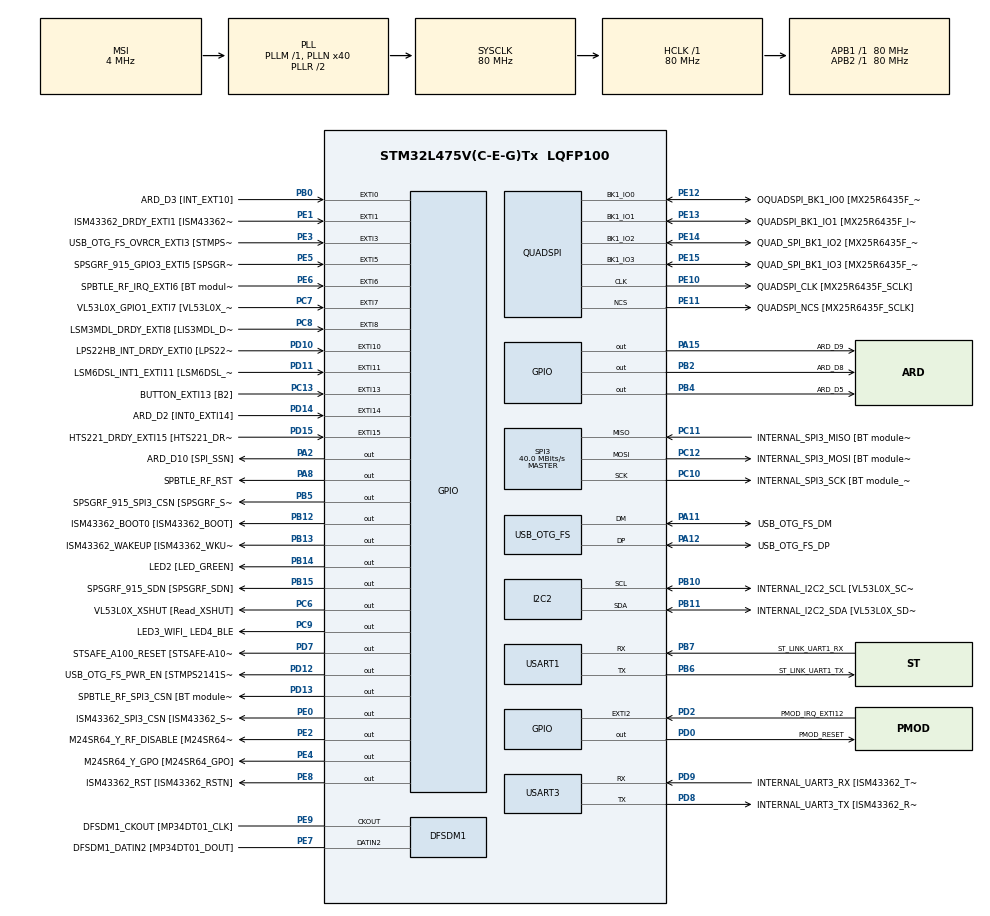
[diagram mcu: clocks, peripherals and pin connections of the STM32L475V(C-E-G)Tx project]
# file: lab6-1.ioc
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ADC1.Channel-0\#ChannelRegularConversion=ADC_CHANNEL_TEMPSENSOR
ADC1.ClockPrescaler=ADC_CLOCK_SYNC_PCLK_DIV4
ADC1.ExternalTrigConv=ADC_EXTERNALTRIG_T1_TRGO
ADC1.NbrOfConversionFlag=1
ADC1.OffsetNumber-0\#ChannelRegularConversion=ADC_OFFSET_NONE
ADC1.Rank-0\#ChannelRegularConversion=1
ADC1.SamplingTime-0\#ChannelRegularConversion=ADC_SAMPLETIME_2CYCLES_5
ADC1.master=1
FREERTOS.BinarySemaphores01=Sem,Dynamic,NULL,Depleted
FREERTOS.Tasks01=task1,24,128,Task1,Default,NULL,Dynamic,NULL,NULL
Mcu.Family=STM32L4
Mcu.Name=STM32L475V(C-E-G)Tx
Mcu.Package=LQFP100
NVIC.ADC1_2_IRQn=true\:5\:0\:false\:false\:true\:true\:true\:true\:true
NVIC.EXTI15_10_IRQn=true\:5\:0\:false\:false\:true\:true\:true\:true\:true
NVIC.EXTI9_5_IRQn=true\:5\:0\:false\:false\:true\:true\:true\:true\:true
NVIC.PriorityGroup=NVIC_PRIORITYGROUP_4
PA0.GPIO_Label=ARD_D1 [UART4_TX]
PA0.Signal=UART4_TX
PA1.GPIO_Label=ARD_D0 [UART4_RX]
PA1.Signal=UART4_RX
PA10.GPIO_Label=USB_OTG_FS_ID
PA10.Signal=USB_OTG_FS_ID
PA11.GPIO_Label=USB_OTG_FS_DM
PA11.Mode=Device_Only
PA11.Signal=USB_OTG_FS_DM
PA12.GPIO_Label=USB_OTG_FS_DP
PA12.Mode=Device_Only
PA12.Signal=USB_OTG_FS_DP
PA13\ (JTMS-SWDIO).GPIO_Label=SYS_JTMS_SWDIO
PA13\ (JTMS-SWDIO).Mode=Serial_Wire
PA13\ (JTMS-SWDIO).Signal=SYS_JTMS-SWDIO
PA14\ (JTCK-SWCLK).GPIO_Label=SYS_JTCK_SWCLK
PA14\ (JTCK-SWCLK).Mode=Serial_Wire
PA14\ (JTCK-SWCLK).Signal=SYS_JTCK-SWCLK
PA15\ (JTDI).GPIO_Label=ARD_D9
PA15\ (JTDI).Signal=GPIO_Output
PA2.GPIO_Label=ARD_D10 [SPI_SSN]
PA2.Signal=GPIO_Output
PA3.GPIO_Label=ARD_D4
PA3.Signal=S_TIM2_CH4
PA4.GPIO_Label=ARD_D7
PA4.Signal=ADCx_IN9
PA5.GPIO_Label=ARD_D13 [SPI1_SCK]
PA5.Signal=SPI1_SCK
PA6.GPIO_Label=ARD_D12 [SPI1_MISO]
PA6.Signal=SPI1_MISO
PA7.GPIO_Label=ARD_D11 [SPI1_MOSI]
PA7.Signal=SPI1_MOSI
PA8.GPIO_Label=SPBTLE_RF_RST
PA8.Signal=GPIO_Output
PA9.GPIO_Label=USB_OTG_FS_VBUS [STMPS2141STR_OUT]
PA9.Signal=USB_OTG_FS_VBUS
PB0.GPIO_Label=ARD_D3 [INT_EXT10]
PB0.Signal=GPXTI0
PB1.GPIO_Label=ARD_D6 [ADC1_IN6]
PB1.Signal=ADCx_IN16
PB10.GPIO_Label=INTERNAL_I2C2_SCL [VL53L0X_SCL]
PB10.GPIO_Pu=GPIO_PULLUP
PB10.Mode=I2C
PB10.Signal=I2C2_SCL
PB11.GPIO_Label=INTERNAL_I2C2_SDA [VL53L0X_SDA]
PB11.GPIO_Pu=GPIO_PULLUP
PB11.Mode=I2C
PB11.Signal=I2C2_SDA
PB12.GPIO_Label=ISM43362_BOOT0 [ISM43362_BOOT]
PB12.Signal=GPIO_Output
PB13.GPIO_Label=ISM43362_WAKEUP [ISM43362_WKUP]
PB13.Signal=GPIO_Output
PB14.GPIO_Label=LED2 [LED_GREEN]
PB14.Signal=GPIO_Output
PB15.GPIO_Label=SPSGRF_915_SDN [SPSGRF_SDN]
PB15.Signal=GPIO_Output
PB2.GPIO_Label=ARD_D8
PB2.Signal=GPIO_Output
PB3\ (JTDO-TRACESWO).GPIO_Label=SYS_JTD0_SWO
PB3\ (JTDO-TRACESWO).Signal=SYS_JTDO-SWO
PB4\ (NJTRST).GPIO_Label=ARD_D5
PB4\ (NJTRST).Signal=GPIO_Output
PB5.GPIO_Label=SPSGRF_915_SPI3_CSN [SPSGRF_SPI_CS]
PB5.PinState=GPIO_PIN_SET
PB5.Signal=GPIO_Output
PB6.GPIO_Label=ST_LINK_UART1_TX
PB6.Mode=Asynchronous
PB6.Signal=USART1_TX
PB7.GPIO_Label=ST_LINK_UART1_RX
PB7.Mode=Asynchronous
PB7.Signal=USART1_RX
PB8.GPIO_Label=ARD_D15 [I2C1_SCL]
PB8.Signal=I2C1_SCL
PB9.GPIO_Label=ARD_D14 [I2C1_SDA]
PB9.Signal=I2C1_SDA
PC0.GPIO_Label=ARD_A5 [ADC]
PC0.Signal=ADCx_IN1
PC1.GPIO_Label=ARD_A4 [ADC]
PC1.Signal=ADCx_IN2
PC10.GPIO_Label=INTERNAL_SPI3_SCK [BT module_SPI_SCLK] [ISM43362_SCK]
PC10.Mode=Full_Duplex_Master
PC10.Signal=SPI3_SCK
PC11.GPIO_Label=INTERNAL_SPI3_MISO [BT module_SPI_MISO] [ISM43362_MISO]
PC11.Mode=Full_Duplex_Master
PC11.Signal=SPI3_MISO
PC12.GPIO_Label=INTERNAL_SPI3_MOSI [BT module_SPI_MOSI] [ISM43362_MOSI]
PC12.Mode=Full_Duplex_Master
PC12.Signal=SPI3_MOSI
PC13.GPIO_Label=BUTTON_EXTI13 [B2]
PC13.GPIO_ModeDefaultEXTI=GPIO_MODE_IT_FALLING
PC13.Signal=GPXTI13
PC14-OSC32_IN\ (PC14).Mode=LSE-External-Oscillator
PC14-OSC32_IN\ (PC14).Signal=RCC_OSC32_IN
PC15-OSC32_OUT\ (PC15).Mode=LSE-External-Oscillator
PC15-OSC32_OUT\ (PC15).Signal=RCC_OSC32_OUT
PC2.GPIO_Label=ARD_A3 [ADC]
PC2.Signal=ADCx_IN3
PC3.GPIO_Label=ARD_A2 [ADC]
PC3.Signal=ADCx_IN4
PC4.GPIO_Label=ARD_A1 [ADC]
PC4.Signal=ADCx_IN13
PC5.GPIO_Label=ARD_A0 [ADC]
PC5.Signal=ADCx_IN14
PC6.GPIO_Label=VL53L0X_XSHUT [Read_XSHUT]
PC6.Signal=GPIO_Output
PC7.GPIO_Label=VL53L0X_GPIO1_EXTI7 [VL53L0X_GPIO1]
PC7.Signal=GPXTI7
PC8.GPIO_Label=LSM3MDL_DRDY_EXTI8 [LIS3MDL_DRDY]
PC8.Signal=GPXTI8
PC9.GPIO_Label=LED3_WIFI_ LED4_BLE
PC9.Signal=GPIO_Output
PD0.GPIO_Label=PMOD_RESET
PD0.Signal=GPIO_Output
PD1.GPIO_Label=PMOD_SPI2_SCK
PD1.Signal=SPI2_SCK
PD10.GPIO_Label=LPS22HB_INT_DRDY_EXTI0 [LPS22HB_INT_DRDY] 
PD10.Signal=GPXTI10
PD11.GPIO_Label=LSM6DSL_INT1_EXTI11 [LSM6DSL_INT1]
PD11.Signal=GPXTI11
PD12.GPIO_Label=USB_OTG_FS_PWR_EN [STMPS2141STR_EN]
PD12.Signal=GPIO_Output
PD13.GPIO_Label=SPBTLE_RF_SPI3_CSN [BT module_SPI_CS]
PD13.PinState=GPIO_PIN_SET
PD13.Signal=GPIO_Output
PD14.GPIO_Label=ARD_D2 [INT0_EXTI14]
PD14.Signal=GPXTI14
PD15.GPIO_Label=HTS221_DRDY_EXTI15 [HTS221_DRDY]
PD15.Signal=GPXTI15
PD2.GPIO_Label=PMOD_IRQ_EXTI12
PD2.Signal=GPXTI2
PD3.GPIO_Label=PMOD_UART2_CTS
PD3.Signal=USART2_CTS
PD4.GPIO_Label=PMOD_UART2_RTS
PD4.Signal=USART2_RTS
PD5.GPIO_Label=PMOD_UART2_TX
PD5.Signal=USART2_TX
PD6.GPIO_Label=PMOD_UART2_RX
PD6.Signal=USART2_RX
PD7.GPIO_Label=STSAFE_A100_RESET [STSAFE-A100_RESET]
PD7.Signal=GPIO_Output
PD8.GPIO_Label=INTERNAL_UART3_TX [ISM43362_RX]
PD8.Mode=Asynchronous
PD8.Signal=USART3_TX
PD9.GPIO_Label=INTERNAL_UART3_RX [ISM43362_TX]
PD9.Mode=Asynchronous
PD9.Signal=USART3_RX
PE0.GPIO_Label=ISM43362_SPI3_CSN [ISM43362_SSN]
PE0.PinState=GPIO_PIN_SET
PE0.Signal=GPIO_Output
PE1.GPIO_Label=ISM43362_DRDY_EXTI1 [ISM43362_DATARDY]
PE1.Signal=GPXTI1
PE10.GPIO_Label=QUADSPI_CLK [MX25R6435F_SCLK]
PE10.Mode=Single Bank
PE10.Signal=QUADSPI_CLK
PE11.GPIO_Label=QUADSPI_NCS [MX25R6435F_SCLK]
PE11.Mode=Single Bank
PE11.Signal=QUADSPI_NCS
PE12.GPIO_Label=OQUADSPI_BK1_IO0 [MX25R6435F_IO0]
PE12.Mode=Single Bank
PE12.Signal=QUADSPI_BK1_IO0
PE13.GPIO_Label=QUADSPI_BK1_IO1 [MX25R6435F_IO1]
PE13.Mode=Single Bank
PE13.Signal=QUADSPI_BK1_IO1
PE14.GPIO_Label=QUAD_SPI_BK1_IO2 [MX25R6435F_IO2]
PE14.Mode=Single Bank
PE14.Signal=QUADSPI_BK1_IO2
PE15.GPIO_Label=QUAD_SPI_BK1_IO3 [MX25R6435F_IO3]
PE15.Mode=Single Bank
PE15.Signal=QUADSPI_BK1_IO3
PE2.GPIO_Label=M24SR64_Y_RF_DISABLE [M24SR64_RFDIS]
PE2.Signal=GPIO_Output
PE3.GPIO_Label=USB_OTG_FS_OVRCR_EXTI3 [STMPS2141STR_FAULT]
PE3.Signal=GPXTI3
PE4.GPIO_Label=M24SR64_Y_GPO [M24SR64_GPO]
PE4.Signal=GPIO_Output
PE5.GPIO_Label=SPSGRF_915_GPIO3_EXTI5 [SPSGRF_GPIO_3]
PE5.Signal=GPXTI5
PE6.GPIO_Label=SPBTLE_RF_IRQ_EXTI6 [BT module_SPI_IRQ]
PE6.Signal=GPXTI6
PE7.GPIO_Label=DFSDM1_DATIN2 [MP34DT01_DOUT]
PE7.Signal=S_DATAIN2DFSDM1
PE8.GPIO_Label=ISM43362_RST [ISM43362_RSTN]
PE8.Signal=GPIO_Output
PE9.GPIO_Label=DFSDM1_CKOUT [MP34DT01_CLK]
PE9.Signal=S_CKOUTDFSDM1
ProjectManager.HeapSize=0x200
ProjectManager.StackSize=0x400
ProjectManager.TargetToolchain=STM32CubeIDE
QUADSPI.ClockPrescaler=2
QUADSPI.FifoThreshold=4
QUADSPI.FlashSize=23
QUADSPI.SampleShifting=QSPI_SAMPLE_SHIFTING_HALFCYCLE
RCC.ADCFreq_Value=48000000
RCC.AHBFreq_Value=80000000
RCC.APB1Freq_Value=80000000
RCC.APB1TimFreq_Value=80000000
RCC.APB2Freq_Value=80000000
RCC.APB2TimFreq_Value=80000000
RCC.CortexFreq_Value=80000000
RCC.HCLKFreq_Value=80000000
RCC.HSE_VALUE=8000000
RCC.HSI_VALUE=16000000
RCC.MSI_VALUE=4000000
RCC.PLLN=40
RCC.PLLSAI1N=24
RCC.SYSCLKFreq_VALUE=80000000
RCC.SYSCLKSource=RCC_SYSCLKSOURCE_PLLCLK
RCC.USBFreq_Value=48000000
RCC.VCOOutputFreq_Value=160000000
SH.ADCx_IN1.0=ADC1_IN1
SH.ADCx_IN13.0=ADC1_IN13
SH.ADCx_IN14.0=ADC1_IN14
SH.ADCx_IN16.0=ADC1_IN16
SH.ADCx_IN2.0=ADC1_IN2
SH.ADCx_IN3.0=ADC1_IN3
SH.ADCx_IN4.0=ADC1_IN4
SH.ADCx_IN9.0=ADC1_IN9
SH.S_CKOUTDFSDM1.0=DFSDM1_CKOUT,CKOUT
SH.S_CKOUTDFSDM1.1=DFSDM1_CKOUT,PDM_SPI_Input_from_ch12_and_Internal_Clock
SH.S_DATAIN2DFSDM1.0=DFSDM1_DATIN2,PDM_SPI_Input_from_ch12_and_Internal_Clock
SH.S_TIM2_CH4.0=TIM2_CH4
SPI3.CalculateBaudRate=40.0 MBits/s
SPI3.Direction=SPI_DIRECTION_2LINES
SPI3.Mode=SPI_MODE_MASTER
SPI3.VirtualType=VM_MASTER
TIM1.Period=1999
TIM1.Prescaler=39999
TIM1.TIM_MasterOutputTrigger=TIM_TRGO_UPDATE
USART1.VirtualMode-Asynchronous=VM_ASYNC
USART3.VirtualMode-Asynchronous=VM_ASYNC
USB_OTG_FS.VirtualMode=Device_Only
VP_ADC1_TempSens_Input.Mode=IN-TempSens
VP_FREERTOS_VS_CMSIS_V2.Mode=CMSIS_V2
VP_TIM1_VS_ClockSourceINT.Mode=Internal
board=B-L475E-IOT01A1

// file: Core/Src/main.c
/* USER CODE BEGIN Header */
/**
  ******************************************************************************
  * @file           : main.c
  * @brief          : Main program body
  ******************************************************************************
  * @attention
  *
  * Copyright (c) 2025 STMicroelectronics.
  * All rights reserved.
  *
  * This software is licensed under terms that can be found in the LICENSE file
  * in the root directory of this software component.
  * If no LICENSE file comes with this software, it is provided AS-IS.
  *
  ******************************************************************************
  */
/* USER CODE END Header */
#include "main.h"
#include "cmsis_os.h"

/* USER CODE BEGIN Includes */
#include "stdio.h"
/* USER CODE END Includes */

ADC_HandleTypeDef hadc1;

DFSDM_Channel_HandleTypeDef hdfsdm1_channel1;

I2C_HandleTypeDef hi2c2;

QSPI_HandleTypeDef hqspi;

SPI_HandleTypeDef hspi3;

TIM_HandleTypeDef htim1;

UART_HandleTypeDef huart1;
UART_HandleTypeDef huart3;

PCD_HandleTypeDef hpcd_USB_OTG_FS;

/* Definitions for task1 */
osThreadId_t task1Handle;
const osThreadAttr_t task1_attributes = {
  .name = "task1",
  .stack_size = 128 * 4,
  .priority = (osPriority_t) osPriorityNormal,
};
/* Definitions for Sem */
osSemaphoreId_t SemHandle;
const osSemaphoreAttr_t Sem_attributes = {
  .name = "Sem"
};
/* USER CODE BEGIN PV */
int16_t data;
int16_t val;
int16_t ts_cal1_value;
int16_t ts_cal2_value;
/* USER CODE END PV */

void SystemClock_Config(void);
void PeriphCommonClock_Config(void);
static void MX_GPIO_Init(void);
static void MX_DFSDM1_Init(void);
static void MX_I2C2_Init(void);
static void MX_QUADSPI_Init(void);
static void MX_SPI3_Init(void);
static void MX_USART1_UART_Init(void);
static void MX_USART3_UART_Init(void);
static void MX_USB_OTG_FS_PCD_Init(void);
static void MX_ADC1_Init(void);
static void MX_TIM1_Init(void);
void Task1(void *argument);

/* USER CODE BEGIN 0 */
int __io_putchar (int ch)
{
	HAL_UART_Transmit (&huart1, (uint8_t *) &ch, 1, 0xFFFF);
	return ch;
}

void HAL_ADC_ConvCpltCallback (ADC_HandleTypeDef *hadc)
{
	data = HAL_ADC_GetValue(&hadc1);
	osSemaphoreRelease(SemHandle);
}
/* USER CODE END 0 */

int main(void)
{

  /* MCU Configuration--------------------------------------------------------*/

  /* Reset of all peripherals, Initializes the Flash interface and the Systick. */
  HAL_Init();

  /* Configure the system clock */
  SystemClock_Config();

  /* Configure the peripherals common clocks */
  PeriphCommonClock_Config();

  /* Initialize all configured peripherals */
  MX_GPIO_Init();
  MX_DFSDM1_Init();
  MX_I2C2_Init();
  MX_QUADSPI_Init();
  MX_SPI3_Init();
  MX_USART1_UART_Init();
  MX_USART3_UART_Init();
  MX_USB_OTG_FS_PCD_Init();
  MX_ADC1_Init();
  MX_TIM1_Init();
  /* USER CODE BEGIN 2 */
  HAL_ADC_Start_IT(&hadc1);
  HAL_TIM_Base_Start_IT(&htim1);
  ts_cal1_value = *((int16_t*)0x1FFF75A8);
  ts_cal2_value = *((int16_t*)0x1FFF75CA);
  /* USER CODE END 2 */

  /* Init scheduler */
  osKernelInitialize();

  /* Create the semaphores(s) */
  /* creation of Sem */
  SemHandle = osSemaphoreNew(1, 0, &Sem_attributes);

  /* Create the thread(s) */
  /* creation of task1 */
  task1Handle = osThreadNew(Task1, NULL, &task1_attributes);

  /* Start scheduler */
  osKernelStart();

  /* We should never get here as control is now taken by the scheduler */

  /* Infinite loop */
  while (1)
  {

  }
}

void SystemClock_Config(void)
{
  RCC_OscInitTypeDef RCC_OscInitStruct = {0};
  RCC_ClkInitTypeDef RCC_ClkInitStruct = {0};

  /** Configure the main internal regulator output voltage
  */
  if (HAL_PWREx_ControlVoltageScaling(PWR_REGULATOR_VOLTAGE_SCALE1) != HAL_OK)
  {
    Error_Handler();
  }

  /** Configure LSE Drive Capability
  */
  HAL_PWR_EnableBkUpAccess();
  __HAL_RCC_LSEDRIVE_CONFIG(RCC_LSEDRIVE_LOW);

  /** Initializes the RCC Oscillators according to the specified parameters
  * in the RCC_OscInitTypeDef structure.
  */
  RCC_OscInitStruct.OscillatorType = RCC_OSCILLATORTYPE_LSE|RCC_OSCILLATORTYPE_MSI;
  RCC_OscInitStruct.LSEState = RCC_LSE_ON;
  RCC_OscInitStruct.MSIState = RCC_MSI_ON;
  RCC_OscInitStruct.MSICalibrationValue = 0;
  RCC_OscInitStruct.MSIClockRange = RCC_MSIRANGE_6;
  RCC_OscInitStruct.PLL.PLLState = RCC_PLL_ON;
  RCC_OscInitStruct.PLL.PLLSource = RCC_PLLSOURCE_MSI;
  RCC_OscInitStruct.PLL.PLLM = 1;
  RCC_OscInitStruct.PLL.PLLN = 40;
  RCC_OscInitStruct.PLL.PLLP = RCC_PLLP_DIV7;
  RCC_OscInitStruct.PLL.PLLQ = RCC_PLLQ_DIV2;
  RCC_OscInitStruct.PLL.PLLR = RCC_PLLR_DIV2;
  if (HAL_RCC_OscConfig(&RCC_OscInitStruct) != HAL_OK)
  {
    Error_Handler();
  }

  /** Initializes the CPU, AHB and APB buses clocks
  */
  RCC_ClkInitStruct.ClockType = RCC_CLOCKTYPE_HCLK|RCC_CLOCKTYPE_SYSCLK
                              |RCC_CLOCKTYPE_PCLK1|RCC_CLOCKTYPE_PCLK2;
  RCC_ClkInitStruct.SYSCLKSource = RCC_SYSCLKSOURCE_PLLCLK;
  RCC_ClkInitStruct.AHBCLKDivider = RCC_SYSCLK_DIV1;
  RCC_ClkInitStruct.APB1CLKDivider = RCC_HCLK_DIV1;
  RCC_ClkInitStruct.APB2CLKDivider = RCC_HCLK_DIV1;

  if (HAL_RCC_ClockConfig(&RCC_ClkInitStruct, FLASH_LATENCY_4) != HAL_OK)
  {
    Error_Handler();
  }

  /** Enable MSI Auto calibration
  */
  HAL_RCCEx_EnableMSIPLLMode();
}

void PeriphCommonClock_Config(void)
{
  RCC_PeriphCLKInitTypeDef PeriphClkInit = {0};

  /** Initializes the peripherals clock
  */
  PeriphClkInit.PeriphClockSelection = RCC_PERIPHCLK_USB;
  PeriphClkInit.UsbClockSelection = RCC_USBCLKSOURCE_PLLSAI1;
  PeriphClkInit.PLLSAI1.PLLSAI1Source = RCC_PLLSOURCE_MSI;
  PeriphClkInit.PLLSAI1.PLLSAI1M = 1;
  PeriphClkInit.PLLSAI1.PLLSAI1N = 24;
  PeriphClkInit.PLLSAI1.PLLSAI1P = RCC_PLLP_DIV7;
  PeriphClkInit.PLLSAI1.PLLSAI1Q = RCC_PLLQ_DIV2;
  PeriphClkInit.PLLSAI1.PLLSAI1R = RCC_PLLR_DIV2;
  PeriphClkInit.PLLSAI1.PLLSAI1ClockOut = RCC_PLLSAI1_48M2CLK;
  if (HAL_RCCEx_PeriphCLKConfig(&PeriphClkInit) != HAL_OK)
  {
    Error_Handler();
  }
}

static void MX_ADC1_Init(void)
{

  ADC_MultiModeTypeDef multimode = {0};
  ADC_ChannelConfTypeDef sConfig = {0};

  /** Common config
  */
  hadc1.Instance = ADC1;
  hadc1.Init.ClockPrescaler = ADC_CLOCK_SYNC_PCLK_DIV4;
  hadc1.Init.Resolution = ADC_RESOLUTION_12B;
  hadc1.Init.DataAlign = ADC_DATAALIGN_RIGHT;
  hadc1.Init.ScanConvMode = ADC_SCAN_DISABLE;
  hadc1.Init.EOCSelection = ADC_EOC_SINGLE_CONV;
  hadc1.Init.LowPowerAutoWait = DISABLE;
  hadc1.Init.ContinuousConvMode = DISABLE;
  hadc1.Init.NbrOfConversion = 1;
  hadc1.Init.DiscontinuousConvMode = DISABLE;
  hadc1.Init.ExternalTrigConv = ADC_EXTERNALTRIG_T1_TRGO;
  hadc1.Init.ExternalTrigConvEdge = ADC_EXTERNALTRIGCONVEDGE_RISING;
  hadc1.Init.DMAContinuousRequests = DISABLE;
  hadc1.Init.Overrun = ADC_OVR_DATA_PRESERVED;
  hadc1.Init.OversamplingMode = DISABLE;
  if (HAL_ADC_Init(&hadc1) != HAL_OK)
  {
    Error_Handler();
  }
  if (HAL_ADCEx_Calibration_Start(&hadc1, ADC_SINGLE_ENDED) != HAL_OK)
  {
      Error_Handler();
  }

  /** Configure the ADC multi-mode
  */
  multimode.Mode = ADC_MODE_INDEPENDENT;
  if (HAL_ADCEx_MultiModeConfigChannel(&hadc1, &multimode) != HAL_OK)
  {
    Error_Handler();
  }

  /** Configure Regular Channel
  */
  sConfig.Channel = ADC_CHANNEL_TEMPSENSOR;
  sConfig.Rank = ADC_REGULAR_RANK_1;
  sConfig.SamplingTime = ADC_SAMPLETIME_2CYCLES_5;
  sConfig.SingleDiff = ADC_SINGLE_ENDED;
  sConfig.OffsetNumber = ADC_OFFSET_NONE;
  sConfig.Offset = 0;
  if (HAL_ADC_ConfigChannel(&hadc1, &sConfig) != HAL_OK)
  {
    Error_Handler();
  }

}

static void MX_DFSDM1_Init(void)
{

  hdfsdm1_channel1.Instance = DFSDM1_Channel1;
  hdfsdm1_channel1.Init.OutputClock.Activation = ENABLE;
  hdfsdm1_channel1.Init.OutputClock.Selection = DFSDM_CHANNEL_OUTPUT_CLOCK_SYSTEM;
  hdfsdm1_channel1.Init.OutputClock.Divider = 2;
  hdfsdm1_channel1.Init.Input.Multiplexer = DFSDM_CHANNEL_EXTERNAL_INPUTS;
  hdfsdm1_channel1.Init.Input.DataPacking = DFSDM_CHANNEL_STANDARD_MODE;
  hdfsdm1_channel1.Init.Input.Pins = DFSDM_CHANNEL_FOLLOWING_CHANNEL_PINS;
  hdfsdm1_channel1.Init.SerialInterface.Type = DFSDM_CHANNEL_SPI_RISING;
  hdfsdm1_channel1.Init.SerialInterface.SpiClock = DFSDM_CHANNEL_SPI_CLOCK_INTERNAL;
  hdfsdm1_channel1.Init.Awd.FilterOrder = DFSDM_CHANNEL_FASTSINC_ORDER;
  hdfsdm1_channel1.Init.Awd.Oversampling = 1;
  hdfsdm1_channel1.Init.Offset = 0;
  hdfsdm1_channel1.Init.RightBitShift = 0x00;
  if (HAL_DFSDM_ChannelInit(&hdfsdm1_channel1) != HAL_OK)
  {
    Error_Handler();
  }

}

static void MX_I2C2_Init(void)
{

  hi2c2.Instance = I2C2;
  hi2c2.Init.Timing = 0x00000E14;
  hi2c2.Init.OwnAddress1 = 0;
  hi2c2.Init.AddressingMode = I2C_ADDRESSINGMODE_7BIT;
  hi2c2.Init.DualAddressMode = I2C_DUALADDRESS_DISABLE;
  hi2c2.Init.OwnAddress2 = 0;
  hi2c2.Init.OwnAddress2Masks = I2C_OA2_NOMASK;
  hi2c2.Init.GeneralCallMode = I2C_GENERALCALL_DISABLE;
  hi2c2.Init.NoStretchMode = I2C_NOSTRETCH_DISABLE;
  if (HAL_I2C_Init(&hi2c2) != HAL_OK)
  {
    Error_Handler();
  }

  /** Configure Analogue filter
  */
  if (HAL_I2CEx_ConfigAnalogFilter(&hi2c2, I2C_ANALOGFILTER_ENABLE) != HAL_OK)
  {
    Error_Handler();
  }

  /** Configure Digital filter
  */
  if (HAL_I2CEx_ConfigDigitalFilter(&hi2c2, 0) != HAL_OK)
  {
    Error_Handler();
  }

}

static void MX_QUADSPI_Init(void)
{

  /* QUADSPI parameter configuration*/
  hqspi.Instance = QUADSPI;
  hqspi.Init.ClockPrescaler = 2;
  hqspi.Init.FifoThreshold = 4;
  hqspi.Init.SampleShifting = QSPI_SAMPLE_SHIFTING_HALFCYCLE;
  hqspi.Init.FlashSize = 23;
  hqspi.Init.ChipSelectHighTime = QSPI_CS_HIGH_TIME_1_CYCLE;
  hqspi.Init.ClockMode = QSPI_CLOCK_MODE_0;
  if (HAL_QSPI_Init(&hqspi) != HAL_OK)
  {
    Error_Handler();
  }

}

static void MX_SPI3_Init(void)
{

  /* SPI3 parameter configuration*/
  hspi3.Instance = SPI3;
  hspi3.Init.Mode = SPI_MODE_MASTER;
  hspi3.Init.Direction = SPI_DIRECTION_2LINES;
  hspi3.Init.DataSize = SPI_DATASIZE_4BIT;
  hspi3.Init.CLKPolarity = SPI_POLARITY_LOW;
  hspi3.Init.CLKPhase = SPI_PHASE_1EDGE;
  hspi3.Init.NSS = SPI_NSS_SOFT;
  hspi3.Init.BaudRatePrescaler = SPI_BAUDRATEPRESCALER_2;
  hspi3.Init.FirstBit = SPI_FIRSTBIT_MSB;
  hspi3.Init.TIMode = SPI_TIMODE_DISABLE;
  hspi3.Init.CRCCalculation = SPI_CRCCALCULATION_DISABLE;
  hspi3.Init.CRCPolynomial = 7;
  hspi3.Init.CRCLength = SPI_CRC_LENGTH_DATASIZE;
  hspi3.Init.NSSPMode = SPI_NSS_PULSE_ENABLE;
  if (HAL_SPI_Init(&hspi3) != HAL_OK)
  {
    Error_Handler();
  }

}

static void MX_TIM1_Init(void)
{

  TIM_ClockConfigTypeDef sClockSourceConfig = {0};
  TIM_MasterConfigTypeDef sMasterConfig = {0};

  htim1.Instance = TIM1;
  htim1.Init.Prescaler = 39999;
  htim1.Init.CounterMode = TIM_COUNTERMODE_UP;
  htim1.Init.Period = 1999;
  htim1.Init.ClockDivision = TIM_CLOCKDIVISION_DIV1;
  htim1.Init.RepetitionCounter = 0;
  htim1.Init.AutoReloadPreload = TIM_AUTORELOAD_PRELOAD_DISABLE;
  if (HAL_TIM_Base_Init(&htim1) != HAL_OK)
  {
    Error_Handler();
  }
  sClockSourceConfig.ClockSource = TIM_CLOCKSOURCE_INTERNAL;
  if (HAL_TIM_ConfigClockSource(&htim1, &sClockSourceConfig) != HAL_OK)
  {
    Error_Handler();
  }
  sMasterConfig.MasterOutputTrigger = TIM_TRGO_UPDATE;
  sMasterConfig.MasterOutputTrigger2 = TIM_TRGO2_RESET;
  sMasterConfig.MasterSlaveMode = TIM_MASTERSLAVEMODE_DISABLE;
  if (HAL_TIMEx_MasterConfigSynchronization(&htim1, &sMasterConfig) != HAL_OK)
  {
    Error_Handler();
  }

}

static void MX_USART1_UART_Init(void)
{

  huart1.Instance = USART1;
  huart1.Init.BaudRate = 115200;
  huart1.Init.WordLength = UART_WORDLENGTH_8B;
  huart1.Init.StopBits = UART_STOPBITS_1;
  huart1.Init.Parity = UART_PARITY_NONE;
  huart1.Init.Mode = UART_MODE_TX_RX;
  huart1.Init.HwFlowCtl = UART_HWCONTROL_NONE;
  huart1.Init.OverSampling = UART_OVERSAMPLING_16;
  huart1.Init.OneBitSampling = UART_ONE_BIT_SAMPLE_DISABLE;
  huart1.AdvancedInit.AdvFeatureInit = UART_ADVFEATURE_NO_INIT;
  if (HAL_UART_Init(&huart1) != HAL_OK)
  {
    Error_Handler();
  }

}

static void MX_USART3_UART_Init(void)
{

  huart3.Instance = USART3;
  huart3.Init.BaudRate = 115200;
  huart3.Init.WordLength = UART_WORDLENGTH_8B;
  huart3.Init.StopBits = UART_STOPBITS_1;
  huart3.Init.Parity = UART_PARITY_NONE;
  huart3.Init.Mode = UART_MODE_TX_RX;
  huart3.Init.HwFlowCtl = UART_HWCONTROL_NONE;
  huart3.Init.OverSampling = UART_OVERSAMPLING_16;
  huart3.Init.OneBitSampling = UART_ONE_BIT_SAMPLE_DISABLE;
  huart3.AdvancedInit.AdvFeatureInit = UART_ADVFEATURE_NO_INIT;
  if (HAL_UART_Init(&huart3) != HAL_OK)
  {
    Error_Handler();
  }

}

static void MX_USB_OTG_FS_PCD_Init(void)
{

  hpcd_USB_OTG_FS.Instance = USB_OTG_FS;
  hpcd_USB_OTG_FS.Init.dev_endpoints = 6;
  hpcd_USB_OTG_FS.Init.speed = PCD_SPEED_FULL;
  hpcd_USB_OTG_FS.Init.phy_itface = PCD_PHY_EMBEDDED;
  hpcd_USB_OTG_FS.Init.Sof_enable = DISABLE;
  hpcd_USB_OTG_FS.Init.low_power_enable = DISABLE;
  hpcd_USB_OTG_FS.Init.lpm_enable = DISABLE;
  hpcd_USB_OTG_FS.Init.battery_charging_enable = DISABLE;
  hpcd_USB_OTG_FS.Init.use_dedicated_ep1 = DISABLE;
  hpcd_USB_OTG_FS.Init.vbus_sensing_enable = DISABLE;
  if (HAL_PCD_Init(&hpcd_USB_OTG_FS) != HAL_OK)
  {
    Error_Handler();
  }

}

static void MX_GPIO_Init(void)
{
  GPIO_InitTypeDef GPIO_InitStruct = {0};

  /* GPIO Ports Clock Enable */
  __HAL_RCC_GPIOE_CLK_ENABLE();
  __HAL_RCC_GPIOC_CLK_ENABLE();
  __HAL_RCC_GPIOA_CLK_ENABLE();
  __HAL_RCC_GPIOB_CLK_ENABLE();
  __HAL_RCC_GPIOD_CLK_ENABLE();

  /*Configure GPIO pin Output Level */
  HAL_GPIO_WritePin(GPIOE, M24SR64_Y_RF_DISABLE_Pin|M24SR64_Y_GPO_Pin|ISM43362_RST_Pin, GPIO_PIN_RESET);

  /*Configure GPIO pin Output Level */
  HAL_GPIO_WritePin(GPIOA, ARD_D10_Pin|SPBTLE_RF_RST_Pin|ARD_D9_Pin, GPIO_PIN_RESET);

  /*Configure GPIO pin Output Level */
  HAL_GPIO_WritePin(GPIOB, ARD_D8_Pin|ISM43362_BOOT0_Pin|ISM43362_WAKEUP_Pin|LED2_Pin
                          |SPSGRF_915_SDN_Pin|ARD_D5_Pin, GPIO_PIN_RESET);

  /*Configure GPIO pin Output Level */
  HAL_GPIO_WritePin(GPIOD, USB_OTG_FS_PWR_EN_Pin|PMOD_RESET_Pin|STSAFE_A100_RESET_Pin, GPIO_PIN_RESET);

  /*Configure GPIO pin Output Level */
  HAL_GPIO_WritePin(SPBTLE_RF_SPI3_CSN_GPIO_Port, SPBTLE_RF_SPI3_CSN_Pin, GPIO_PIN_SET);

  /*Configure GPIO pin Output Level */
  HAL_GPIO_WritePin(GPIOC, VL53L0X_XSHUT_Pin|LED3_WIFI__LED4_BLE_Pin, GPIO_PIN_RESET);

  /*Configure GPIO pin Output Level */
  HAL_GPIO_WritePin(SPSGRF_915_SPI3_CSN_GPIO_Port, SPSGRF_915_SPI3_CSN_Pin, GPIO_PIN_SET);

  /*Configure GPIO pin Output Level */
  HAL_GPIO_WritePin(ISM43362_SPI3_CSN_GPIO_Port, ISM43362_SPI3_CSN_Pin, GPIO_PIN_SET);

  /*Configure GPIO pins : M24SR64_Y_RF_DISABLE_Pin M24SR64_Y_GPO_Pin ISM43362_RST_Pin ISM43362_SPI3_CSN_Pin */
  GPIO_InitStruct.Pin = M24SR64_Y_RF_DISABLE_Pin|M24SR64_Y_GPO_Pin|ISM43362_RST_Pin|ISM43362_SPI3_CSN_Pin;
  GPIO_InitStruct.Mode = GPIO_MODE_OUTPUT_PP;
  GPIO_InitStruct.Pull = GPIO_NOPULL;
  GPIO_InitStruct.Speed = GPIO_SPEED_FREQ_LOW;
  HAL_GPIO_Init(GPIOE, &GPIO_InitStruct);

  /*Configure GPIO pins : USB_OTG_FS_OVRCR_EXTI3_Pin SPSGRF_915_GPIO3_EXTI5_Pin SPBTLE_RF_IRQ_EXTI6_Pin ISM43362_DRDY_EXTI1_Pin */
  GPIO_InitStruct.Pin = USB_OTG_FS_OVRCR_EXTI3_Pin|SPSGRF_915_GPIO3_EXTI5_Pin|SPBTLE_RF_IRQ_EXTI6_Pin|ISM43362_DRDY_EXTI1_Pin;
  GPIO_InitStruct.Mode = GPIO_MODE_IT_RISING;
  GPIO_InitStruct.Pull = GPIO_NOPULL;
  HAL_GPIO_Init(GPIOE, &GPIO_InitStruct);

  /*Configure GPIO pin : BUTTON_EXTI13_Pin */
  GPIO_InitStruct.Pin = BUTTON_EXTI13_Pin;
  GPIO_InitStruct.Mode = GPIO_MODE_IT_FALLING;
  GPIO_InitStruct.Pull = GPIO_NOPULL;
  HAL_GPIO_Init(BUTTON_EXTI13_GPIO_Port, &GPIO_InitStruct);

  /*Configure GPIO pins : ARD_D1_Pin ARD_D0_Pin */
  GPIO_InitStruct.Pin = ARD_D1_Pin|ARD_D0_Pin;
  GPIO_InitStruct.Mode = GPIO_MODE_AF_PP;
  GPIO_InitStruct.Pull = GPIO_NOPULL;
  GPIO_InitStruct.Speed = GPIO_SPEED_FREQ_VERY_HIGH;
  GPIO_InitStruct.Alternate = GPIO_AF8_UART4;
  HAL_GPIO_Init(GPIOA, &GPIO_InitStruct);

  /*Configure GPIO pins : ARD_D10_Pin SPBTLE_RF_RST_Pin ARD_D9_Pin */
  GPIO_InitStruct.Pin = ARD_D10_Pin|SPBTLE_RF_RST_Pin|ARD_D9_Pin;
  GPIO_InitStruct.Mode = GPIO_MODE_OUTPUT_PP;
  GPIO_InitStruct.Pull = GPIO_NOPULL;
  GPIO_InitStruct.Speed = GPIO_SPEED_FREQ_LOW;
  HAL_GPIO_Init(GPIOA, &GPIO_InitStruct);

  /*Configure GPIO pin : ARD_D4_Pin */
  GPIO_InitStruct.Pin = ARD_D4_Pin;
  GPIO_InitStruct.Mode = GPIO_MODE_AF_PP;
  GPIO_InitStruct.Pull = GPIO_NOPULL;
  GPIO_InitStruct.Speed = GPIO_SPEED_FREQ_LOW;
  GPIO_InitStruct.Alternate = GPIO_AF1_TIM2;
  HAL_GPIO_Init(ARD_D4_GPIO_Port, &GPIO_InitStruct);

  /*Configure GPIO pins : ARD_D13_Pin ARD_D12_Pin ARD_D11_Pin */
  GPIO_InitStruct.Pin = ARD_D13_Pin|ARD_D12_Pin|ARD_D11_Pin;
  GPIO_InitStruct.Mode = GPIO_MODE_AF_PP;
  GPIO_InitStruct.Pull = GPIO_NOPULL;
  GPIO_InitStruct.Speed = GPIO_SPEED_FREQ_VERY_HIGH;
  GPIO_InitStruct.Alternate = GPIO_AF5_SPI1;
  HAL_GPIO_Init(GPIOA, &GPIO_InitStruct);

  /*Configure GPIO pin : ARD_D3_Pin */
  GPIO_InitStruct.Pin = ARD_D3_Pin;
  GPIO_InitStruct.Mode = GPIO_MODE_IT_RISING;
  GPIO_InitStruct.Pull = GPIO_NOPULL;
  HAL_GPIO_Init(ARD_D3_GPIO_Port, &GPIO_InitStruct);

  /*Configure GPIO pins : ARD_D8_Pin ISM43362_BOOT0_Pin ISM43362_WAKEUP_Pin LED2_Pin
                           SPSGRF_915_SDN_Pin ARD_D5_Pin SPSGRF_915_SPI3_CSN_Pin */
  GPIO_InitStruct.Pin = ARD_D8_Pin|ISM43362_BOOT0_Pin|ISM43362_WAKEUP_Pin|LED2_Pin
                          |SPSGRF_915_SDN_Pin|ARD_D5_Pin|SPSGRF_915_SPI3_CSN_Pin;
  GPIO_InitStruct.Mode = GPIO_MODE_OUTPUT_PP;
  GPIO_InitStruct.Pull = GPIO_NOPULL;
  GPIO_InitStruct.Speed = GPIO_SPEED_FREQ_LOW;
  HAL_GPIO_Init(GPIOB, &GPIO_InitStruct);

  /*Configure GPIO pins : LPS22HB_INT_DRDY_EXTI0_Pin LSM6DSL_INT1_EXTI11_Pin ARD_D2_Pin HTS221_DRDY_EXTI15_Pin
                           PMOD_IRQ_EXTI12_Pin */
  GPIO_InitStruct.Pin = LPS22HB_INT_DRDY_EXTI0_Pin|LSM6DSL_INT1_EXTI11_Pin|ARD_D2_Pin|HTS221_DRDY_EXTI15_Pin
                          |PMOD_IRQ_EXTI12_Pin;
  GPIO_InitStruct.Mode = GPIO_MODE_IT_RISING;
  GPIO_InitStruct.Pull = GPIO_NOPULL;
  HAL_GPIO_Init(GPIOD, &GPIO_InitStruct);

  /*Configure GPIO pins : USB_OTG_FS_PWR_EN_Pin SPBTLE_RF_SPI3_CSN_Pin PMOD_RESET_Pin STSAFE_A100_RESET_Pin */
  GPIO_InitStruct.Pin = USB_OTG_FS_PWR_EN_Pin|SPBTLE_RF_SPI3_CSN_Pin|PMOD_RESET_Pin|STSAFE_A100_RESET_Pin;
  GPIO_InitStruct.Mode = GPIO_MODE_OUTPUT_PP;
  GPIO_InitStruct.Pull = GPIO_NOPULL;
  GPIO_InitStruct.Speed = GPIO_SPEED_FREQ_LOW;
  HAL_GPIO_Init(GPIOD, &GPIO_InitStruct);

  /*Configure GPIO pins : VL53L0X_XSHUT_Pin LED3_WIFI__LED4_BLE_Pin */
  GPIO_InitStruct.Pin = VL53L0X_XSHUT_Pin|LED3_WIFI__LED4_BLE_Pin;
  GPIO_InitStruct.Mode = GPIO_MODE_OUTPUT_PP;
  GPIO_InitStruct.Pull = GPIO_NOPULL;
  GPIO_InitStruct.Speed = GPIO_SPEED_FREQ_LOW;
  HAL_GPIO_Init(GPIOC, &GPIO_InitStruct);

  /*Configure GPIO pins : VL53L0X_GPIO1_EXTI7_Pin LSM3MDL_DRDY_EXTI8_Pin */
  GPIO_InitStruct.Pin = VL53L0X_GPIO1_EXTI7_Pin|LSM3MDL_DRDY_EXTI8_Pin;
  GPIO_InitStruct.Mode = GPIO_MODE_IT_RISING;
  GPIO_InitStruct.Pull = GPIO_NOPULL;
  HAL_GPIO_Init(GPIOC, &GPIO_InitStruct);

  /*Configure GPIO pin : PMOD_SPI2_SCK_Pin */
  GPIO_InitStruct.Pin = PMOD_SPI2_SCK_Pin;
  GPIO_InitStruct.Mode = GPIO_MODE_AF_PP;
  GPIO_InitStruct.Pull = GPIO_NOPULL;
  GPIO_InitStruct.Speed = GPIO_SPEED_FREQ_VERY_HIGH;
  GPIO_InitStruct.Alternate = GPIO_AF5_SPI2;
  HAL_GPIO_Init(PMOD_SPI2_SCK_GPIO_Port, &GPIO_InitStruct);

  /*Configure GPIO pins : PMOD_UART2_CTS_Pin PMOD_UART2_RTS_Pin PMOD_UART2_TX_Pin PMOD_UART2_RX_Pin */
  GPIO_InitStruct.Pin = PMOD_UART2_CTS_Pin|PMOD_UART2_RTS_Pin|PMOD_UART2_TX_Pin|PMOD_UART2_RX_Pin;
  GPIO_InitStruct.Mode = GPIO_MODE_AF_PP;
  GPIO_InitStruct.Pull = GPIO_NOPULL;
  GPIO_InitStruct.Speed = GPIO_SPEED_FREQ_VERY_HIGH;
  GPIO_InitStruct.Alternate = GPIO_AF7_USART2;
  HAL_GPIO_Init(GPIOD, &GPIO_InitStruct);

  /*Configure GPIO pins : ARD_D15_Pin ARD_D14_Pin */
  GPIO_InitStruct.Pin = ARD_D15_Pin|ARD_D14_Pin;
  GPIO_InitStruct.Mode = GPIO_MODE_AF_OD;
  GPIO_InitStruct.Pull = GPIO_NOPULL;
  GPIO_InitStruct.Speed = GPIO_SPEED_FREQ_VERY_HIGH;
  GPIO_InitStruct.Alternate = GPIO_AF4_I2C1;
  HAL_GPIO_Init(GPIOB, &GPIO_InitStruct);

  /* EXTI interrupt init*/
  HAL_NVIC_SetPriority(EXTI9_5_IRQn, 5, 0);
  HAL_NVIC_EnableIRQ(EXTI9_5_IRQn);

  HAL_NVIC_SetPriority(EXTI15_10_IRQn, 5, 0);
  HAL_NVIC_EnableIRQ(EXTI15_10_IRQn);

}

void Task1(void *argument)
{
  /* USER CODE BEGIN 5 */
  /* Infinite loop */
  for(;;)
  {
	osSemaphoreAcquire(SemHandle, osWaitForever);
    val = (data - ts_cal1_value) * 80 / (ts_cal2_value - ts_cal1_value) + 30;
	printf("task1 got value=%d, data=%d, cal1=%d, cal2=%d\n", val, data, ts_cal1_value, ts_cal2_value);
  }
  /* USER CODE END 5 */
}

void Error_Handler(void)
{
  __disable_irq();
  while (1)
  {
  }
}
